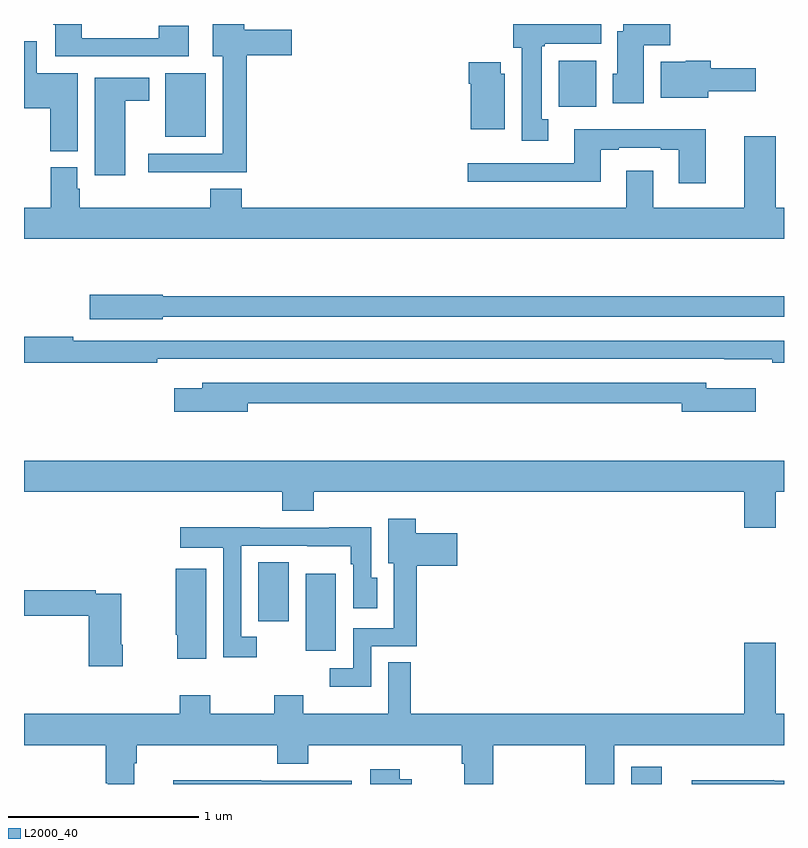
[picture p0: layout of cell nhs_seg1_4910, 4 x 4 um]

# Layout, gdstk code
import gdstk
lib = gdstk.Library(unit=1e-6, precision=1e-09)
def R(c, l, rs):  # rectangles x0, y0, x1, y1
    for r in rs: c.add(gdstk.rectangle(r[:2], r[2:], *l))
def P(c, l, *ps):  # polygons
    for p in ps: c.add(gdstk.Polygon(p, *l))
L2000_40 = (2000, 40)

nhs_seg1_4910 = lib.new_cell('nhs_seg1_4910')
R(nhs_seg1_4910, L2000_40, [(380.196,546.199,380.357,546.289), (378.482,546.9,378.64,547.306), (378.233,547.056,378.394,547.367), (377.744,549.605,377.956,549.94), (379.814,549.764,380.011,550.006)])
P(nhs_seg1_4910, L2000_40, [(379.759,549.698),(379.726,549.698),(379.726,550.081),(379.74,550.081),(379.74,550.094),(380.038,550.094),(380.038,550.199),(379.574,550.199),(379.574,550.074),(379.619,550.074),(379.619,549.585),(379.759,549.585)],
  [(377.866,550.189),(377.71,550.189),(377.71,550.125),(377.305,550.125),(377.305,550.199),(377.153,550.199),(377.153,550.195),(377.165,550.195),(377.165,550.029),(377.866,550.029)],
  [(380.263,550.088),(380.402,550.088),(380.402,550.199),(380.153,550.199),(380.153,550.162),(380.123,550.162),(380.123,549.936),(380.099,549.936),(380.099,549.782),(380.263,549.782)],
  [(378.173,550.034),(378.409,550.034),(378.409,550.168),(378.16,550.168),(378.16,550.199),(377.993,550.199),(377.993,550.028),(378.047,550.028),(378.047,549.516),(377.655,549.516),(377.655,549.419),(378.173,549.419)],
  [(377.284,549.94),(377.068,549.94),(377.068,550.108),(377,550.108),(377,549.755),(377.138,549.755),(377.138,549.529),(377.284,549.529)],
  [(380.602,549.845),(380.851,549.845),(380.851,549.967),(380.615,549.967),(380.615,550.006),(380.484,550.006),(380.484,550),(380.351,550),(380.351,549.812),(380.602,549.812)],
  [(379.531,549.936),(379.51,549.936),(379.51,549.997),(379.34,549.997),(379.34,549.884),(379.352,549.884),(379.352,549.644),(379.531,549.644)],
  [(377.533,549.794),(377.659,549.794),(377.659,549.916),(377.372,549.916),(377.372,549.404),(377.533,549.404)],
  [(380.587,549.646),(379.895,549.646),(379.895,549.465),(379.335,549.465),(379.335,549.368),(380.035,549.368),(380.035,549.537),(380.131,549.537),(380.131,549.549),(380.351,549.549),(380.351,549.537),(380.447,549.537),(380.447,549.36),(380.587,549.36)],
  [(381,549.232),(380.956,549.232),(380.956,549.607),(380.792,549.607),(380.792,549.232),(380.311,549.232),(380.311,549.427),(380.171,549.427),(380.171,549.232),(378.146,549.232),(378.146,549.331),(377.981,549.331),(377.981,549.232),(377.294,549.232),(377.294,549.333),(377.281,549.333),(377.281,549.444),(377.141,549.444),(377.141,549.232),(377,549.232),(377,549.068),(381,549.068)],
  [(377.73,548.658),(381,548.658),(381,548.767),(377.73,548.767),(377.73,548.775),(377.346,548.775),(377.346,548.645),(377.73,548.645)],
  [(377.702,548.436),(380.686,548.436),(380.686,548.435),(380.938,548.435),(380.938,548.416),(381,548.416),(381,548.532),(377.258,548.532),(377.258,548.552),(377,548.552),(377,548.416),(377.702,548.416)],
  [(378.178,548.202),(380.462,548.202),(380.462,548.159),(380.851,548.159),(380.851,548.281),(380.59,548.281),(380.59,548.31),(377.939,548.31),(377.939,548.281),(377.79,548.281),(377.79,548.159),(378.178,548.159)],
  [(380.956,547.736),(381,547.736),(381,547.9),(377,547.9),(377,547.736),(378.359,547.736),(378.359,547.637),(378.524,547.637),(378.524,547.736),(380.792,547.736),(380.792,547.548),(380.956,547.548)],
  [(378.828,546.924),(379.066,546.924),(379.066,547.349),(379.279,547.349),(379.279,547.519),(379.061,547.519),(379.061,547.594),(378.917,547.594),(378.917,547.361),(378.947,547.361),(378.947,547.02),(378.732,547.02),(378.732,546.807),(378.609,546.807),(378.609,546.71),(378.828,546.71)],
  [(378.226,546.975),(378.144,546.975),(378.144,547.452),(378.49,547.452),(378.49,547.451),(378.72,547.451),(378.72,547.355),(378.732,547.355),(378.732,547.125),(378.859,547.125),(378.859,547.284),(378.828,547.284),(378.828,547.55),(378.607,547.55),(378.607,547.548),(378.241,547.548),(378.241,547.55),(377.823,547.55),(377.823,547.442),(378.048,547.442),(378.048,546.867),(378.226,546.867)],
  [(377.959,547.333),(377.798,547.333),(377.798,546.984),(377.806,546.984),(377.806,546.858),(377.959,546.858)],
  [(377.52,546.931),(377.512,546.931),(377.512,547.2),(377.378,547.2),(377.378,547.22),(377,547.22),(377,547.084),(377.342,547.084),(377.342,546.819),(377.52,546.819)],
  [(379.036,546.839),(378.917,546.839),(378.917,546.568),(378.471,546.568),(378.471,546.667),(378.316,546.667),(378.316,546.568),(377.979,546.568),(377.979,546.667),(377.819,546.667),(377.819,546.568),(377,546.568),(377,546.404),(377.429,546.404),(377.429,546.202),(377.441,546.202),(377.441,546.199),(377.581,546.199),(377.581,546.308),(377.594,546.308),(377.594,546.404),(378.332,546.404),(378.332,546.305),(378.497,546.305),(378.497,546.404),(379.304,546.404),(379.304,546.306),(379.316,546.306),(379.316,546.199),(379.469,546.199),(379.469,546.404),(379.955,546.404),(379.955,546.199),(380.107,546.199),(380.107,546.404),(381,546.404),(381,546.568),(380.956,546.568),(380.956,546.943),(380.792,546.943),(380.792,546.568),(379.036,546.568)],
  [(379.04,546.225),(378.978,546.225),(378.978,546.277),(378.822,546.277),(378.822,546.199),(379.04,546.199)],
  [(381,546.216),(380.948,546.216),(380.948,546.218),(380.514,546.218),(380.514,546.199),(381,546.199)],
  [(378.726,546.216),(378.248,546.216),(378.248,546.218),(377.786,546.218),(377.786,546.199),(378.726,546.199)])

lib.write_gds('nhs_seg1_4910.gds')
